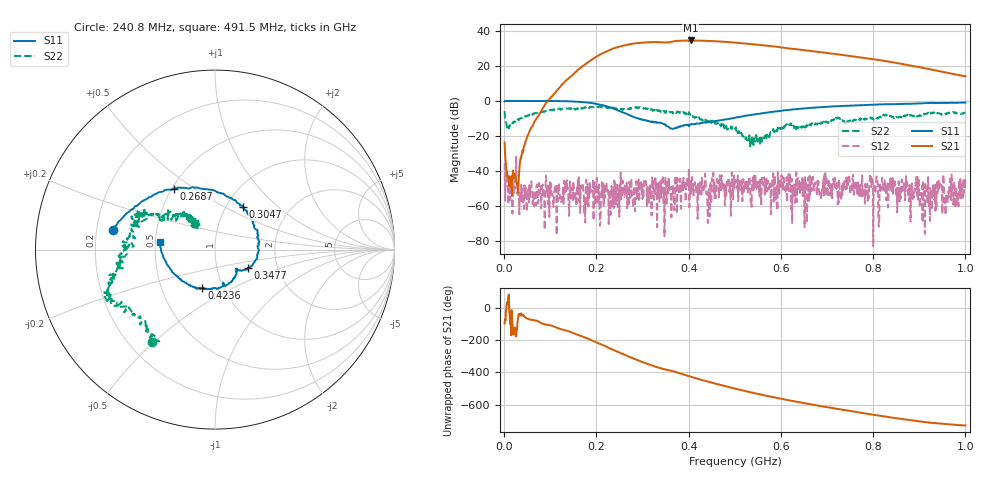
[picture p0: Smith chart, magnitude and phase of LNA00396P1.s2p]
! Created with skrf 1.9.0 (http://scikit-rf.org).
# Hz S RI R 50.0
!freq ReS11 ImS11 ReS21 ImS21 ReS12 ImS12 ReS22 ImS22
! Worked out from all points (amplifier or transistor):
!   1001 points, 1 MHz to 1 GHz, reference 50 ohm
!   highest |S21| = 34.7 dB at 404.6 MHz (marker M1)
!   |S21| within 3 dB of that: 257.1 MHz to 569 MHz (311.9 MHz wide, 75.5 % of centre)
!   unconditionally stable (mu >= 1): 221.9 MHz to 252.6 MHz; 252.9 MHz to 400.5 MHz; 400.6 MHz to end of sweep (the widest 3 of 42)
!   at 166.8 MHz: K = 1.50, MAG = 30.9 dB, |S12| = -50.9 dB
!   at 500.5 MHz: K = 2.65, MAG = 34.1 dB, |S12| = -48.7 dB
!   at 1 GHz: K = 2.08, MAG = 23.2 dB, |S12| = -44.2 dB
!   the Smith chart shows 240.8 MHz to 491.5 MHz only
!   S11 on the Smith chart (normalised r, x): 240.8 MHz: 0.27, +0.09; 268.7 MHz: 0.51, +0.42; 304.7 MHz: 1.20, +0.62; 347.7 MHz: 1.42, -0.30; 423.6 MHz: 0.80, -0.36; 491.5 MHz: 0.53, +0.05
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1000000  0.9816 0.0022  -0.00826 -0.064  -0.0164 -0.00349  0.3587 0.3619
1.08892e8  0.5321 -0.8405  -0.7565 -1.447  0.00263 -6.77e-05  0.425 -0.3743
1.67833e8  -0.2152 -0.905  -9.423 -0.6901  0.000271 -0.00383  0.0312 -0.6281
2.09791e8  -0.6644 -0.3969  -15.3 15.83  0.000528 -0.00213  -0.1981 -0.6525
2.4076e8  -0.5709 0.1113  -2.414 33.24  -0.0043 -0.00112  -0.3493 -0.5159
2.68732e8  -0.2286 0.3399  21.16 35.38  -0.00317 -0.000505  -0.4797 -0.3272
2.85715e8  -0.0163 0.3314  34.5 28.82  -0.000954 0.00225  -0.6141 -0.263
3.04696e8  0.1569 0.2375  44.94 15.11  -0.00335 0.00285  -0.5907 -0.1808
3.34666e8  0.2393 -0.0169  47.59 -9.1  -0.00119 0.00131  -0.5253 -0.021
3.47653e8  0.1854 -0.1019  44.32 -17.13  -0.000131 -2.46e-05  -0.5057 0.0288
3.73627e8  0.1213 -0.1217  40.69 -32.84  -0.00374 0.00454  -0.4439 0.152
4.04596e8  0.0308 -0.2116  21.08 -49.84  0.000269 0.00513  -0.3146 0.1969
4.23577e8  -0.0708 -0.2124  6.652 -53.06  0.00385 -0.0007  -0.2588 0.1808
4.55545e8  -0.2208 -0.1414  -15.66 -49.01  0.00448 0.000489  -0.1599 0.1996
4.91509e8  -0.3089 0.0424  -33.3 -34.49  -0.000424 0.000289  -0.1137 0.1456
5.005e8  -0.3152 0.0942  -36.38 -30.22  0.00137 -0.00338  -0.1147 0.1123
5.4046e8  -0.259 0.3137  -40.79 -9.597  -0.000122 -0.00248  -0.0537 0.0121
5.88412e8  -0.064 0.495  -34.43 10.13  0.000774 -0.00127  -0.121 -0.0565
6.67333e8  0.3248 0.5479  -13.74 22.73  -0.00119 -0.00738  -0.2249 -0.0569
7.53247e8  0.6355 0.3747  3.424 18.79  -0.00343 0.000751  -0.275 0.00896
8.34166e8  0.7919 0.1401  9.656 9.215  -0.00405 0.000522  -0.3744 0.0197
1e9  0.8155 -0.3883  5.065 -0.704  0.0028 0.00553  -0.3102 0.3272
